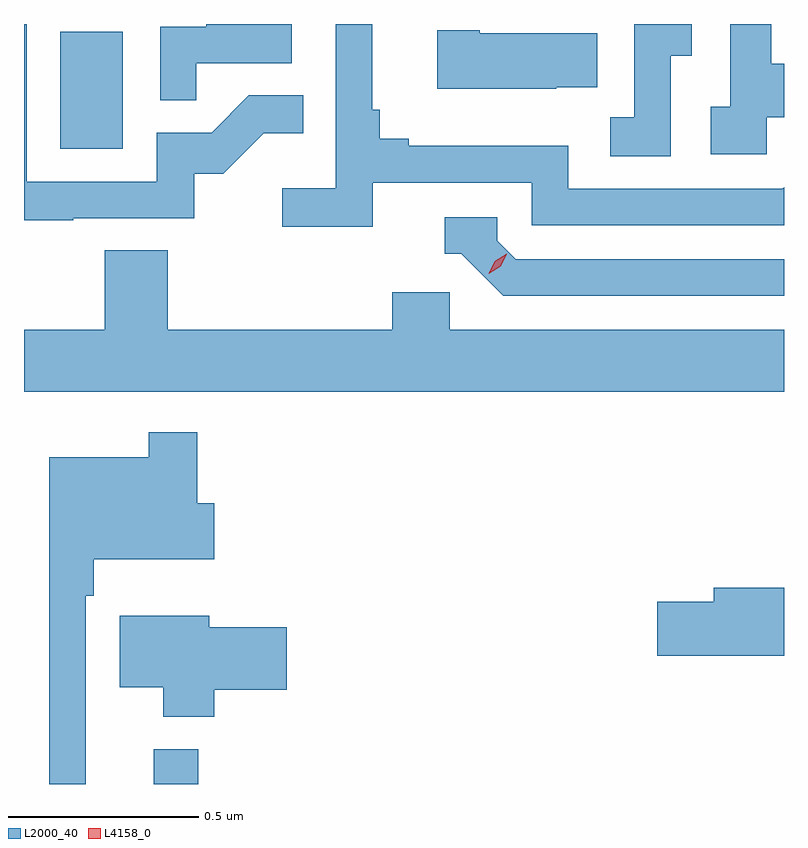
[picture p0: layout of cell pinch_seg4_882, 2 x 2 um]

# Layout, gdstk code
import gdstk
lib = gdstk.Library(unit=1e-6, precision=1e-09)
def R(c, l, rs):  # rectangles x0, y0, x1, y1
    for r in rs: c.add(gdstk.rectangle(r[:2], r[2:], *l))
def P(c, l, *ps):  # polygons
    for p in ps: c.add(gdstk.Polygon(p, *l))
L2000_40 = (2000, 40)
L4158_0 = (4158, 0)

pinch_seg4_882 = lib.new_cell('pinch_seg4_882')
R(pinch_seg4_882, L2000_40, [(844.664,793.124,844.781,793.216), (844.418,794.796,844.582,795.103)])
P(pinch_seg4_882, L2000_40, [(846.024,795.04),(846.079,795.04),(846.079,795.124),(845.928,795.124),(845.928,794.879),(845.865,794.879),(845.865,794.776),(846.024,794.776)],
  [(844.451,794.613),(844.77,794.613),(844.77,794.73),(844.846,794.73),(844.953,794.837),(845.057,794.837),(845.057,794.936),(844.914,794.936),(844.816,794.838),(844.671,794.838),(844.671,794.709),(844.329,794.709),(844.329,795.124),(844.322,795.124),(844.322,794.608),(844.451,794.608)],
  [(845.24,794.706),(845.658,794.706),(845.658,794.595),(846.322,794.595),(846.322,794.695),(846.318,794.691),(845.754,794.691),(845.754,794.803),(845.335,794.803),(845.335,794.822),(845.258,794.822),(845.258,794.899),(845.239,794.899),(845.239,795.124),(845.142,795.124),(845.142,794.692),(845.001,794.692),(845.001,794.59),(845.24,794.59)],
  [(844.775,795.021),(845.026,795.021),(845.026,795.124),(844.801,795.124),(844.801,795.117),(844.68,795.117),(844.68,794.923),(844.775,794.923)],
  [(846.276,794.879),(846.322,794.879),(846.322,795.019),(846.289,795.019),(846.289,795.124),(846.18,795.124),(846.18,794.906),(846.129,794.906),(846.129,794.781),(846.276,794.781)],
  [(845.723,794.957),(845.831,794.957),(845.831,795.1),(845.521,795.1),(845.521,795.108),(845.409,795.108),(845.409,794.954),(845.723,794.954)],
  [(846.322,794.505),(845.616,794.505),(845.568,794.553),(845.568,794.616),(845.429,794.616),(845.429,794.52),(845.472,794.52),(845.583,794.409),(846.322,794.409)],
  [(846.322,794.32),(845.442,794.32),(845.442,794.418),(845.291,794.418),(845.291,794.32),(844.7,794.32),(844.7,794.528),(844.535,794.528),(844.535,794.32),(844.322,794.32),(844.322,794.156),(846.322,794.156)],
  [(844.485,793.619),(844.505,793.619),(844.505,793.715),(844.822,793.715),(844.822,793.863),(844.778,793.863),(844.778,794.05),(844.65,794.05),(844.65,793.984),(844.388,793.984),(844.388,793.124),(844.485,793.124)],
  [(846.322,793.64),(846.137,793.64),(846.137,793.604),(845.988,793.604),(845.988,793.462),(846.322,793.462)],
  [(844.823,793.372),(845.014,793.372),(845.014,793.537),(844.81,793.537),(844.81,793.567),(844.574,793.567),(844.574,793.379),(844.688,793.379),(844.688,793.301),(844.823,793.301)])
P(pinch_seg4_882, L4158_0, [(845.545,794.467),(845.545,794.467),(845.561,794.5),(845.592,794.519),(845.593,794.519),(845.593,794.518),(845.576,794.486),(845.545,794.467)])

lib.write_gds('pinch_seg4_882.gds')
